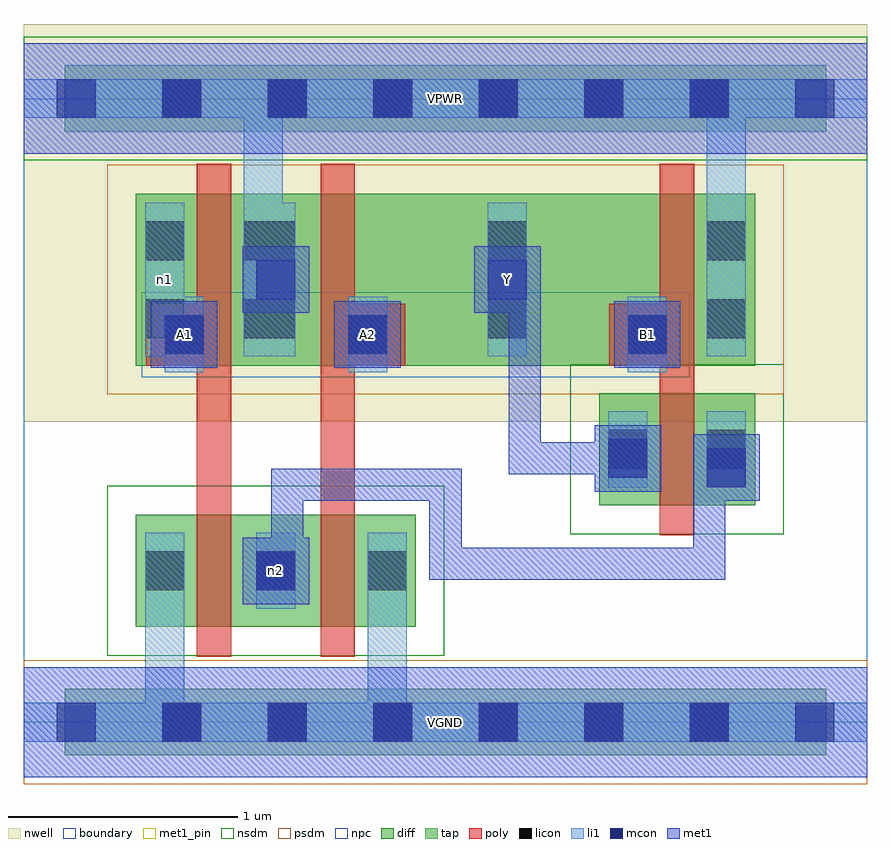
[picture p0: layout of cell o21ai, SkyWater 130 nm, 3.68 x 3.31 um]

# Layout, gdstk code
import gdstk
lib = gdstk.Library(unit=1e-6, precision=1e-09)
def R(c, l, rs):  # rectangles x0, y0, x1, y1
    for r in rs: c.add(gdstk.rectangle(r[:2], r[2:], *l))
def A(c, l, x, y, w, h, nx, ny, dx, dy):  # array of equal rectangles
    R(c, l, [(x+i*dx, y+j*dy, x+i*dx+w, y+j*dy+h) for i in range(nx) for j in range(ny)])
nwell = (64, 20)
diff = (65, 20)
tap = (65, 44)
poly = (66, 20)
licon = (66, 44)
li1 = (67, 20)
mcon = (67, 44)
met1_pin = (68, 16)
met1 = (68, 20)
nsdm = (93, 44)
psdm = (94, 20)
npc = (95, 20)
boundary = (235, 4)

o21ai = lib.new_cell('o21ai')
R(o21ai, nwell, [(0,1.31,3.68,3.045)])
R(o21ai, diff, [(0.49,0.415,1.71,0.905), (2.51,0.945,3.19,1.435), (0.49,1.555,3.19,2.305)])
R(o21ai, tap, [(0.18,-0.145,3.5,0.145), (0.18,2.575,3.5,2.865)])
R(o21ai, poly, [(0.755,0.285,0.905,2.435), (1.295,0.285,1.445,2.435), (2.775,0.815,2.925,2.435), (0.535,1.555,0.865,1.825), (1.335,1.555,1.665,1.825), (2.555,1.555,2.885,1.825)])
A(o21ai, licon, 0.605, -0.085, 0.17, 0.17, 6, 2, 0.46, 2.72)
A(o21ai, licon, 0.53, 0.575, 0.17, 0.17, 3, 1, 0.485, 0)
R(o21ai, licon, [(2.55,1.105,2.72,1.275), (2.98,1.105,3.15,1.275), (0.615,1.605,0.785,1.775), (1.415,1.605,1.585,1.775), (2.635,1.605,2.805,1.775), (0.53,1.675,0.7,1.845), (0.96,1.675,1.13,1.845), (1.015,1.675,1.185,1.845), (2.025,1.675,2.195,1.845), (2.98,1.675,3.15,1.845), (0.53,2.015,0.7,2.185), (0.96,2.015,1.13,2.185), (1.015,2.015,1.185,2.185), (2.025,2.015,2.195,2.185), (2.98,2.015,3.15,2.185)])
A(o21ai, li1, 0.53, 0.495, 0.17, 0.33, 3, 1, 0.485, 0)
R(o21ai, li1, [(0,-0.085,3.68,0.085), (0.53,-0.085,0.7,0.825), (1.5,-0.085,1.67,0.825), (2.55,1.025,2.72,1.355), (2.98,1.025,3.15,1.355), (0.615,1.525,0.785,1.855), (1.415,1.525,1.585,1.855), (2.635,1.525,2.805,1.855), (0.53,1.595,0.7,2.265), (0.96,1.595,1.13,2.265), (0.96,1.595,1.13,2.805), (1.015,1.595,1.185,2.265), (2.025,1.595,2.195,2.265), (2.98,1.595,3.15,2.265), (2.98,1.595,3.15,2.805), (0,2.635,3.68,2.805)])
A(o21ai, mcon, 0.145, -0.085, 0.17, 0.17, 8, 2, 0.46, 2.72)
R(o21ai, mcon, [(1.015,0.575,1.185,0.745), (2.98,1.025,3.15,1.195), (2.55,1.065,2.72,1.235), (0.615,1.605,0.785,1.775), (1.415,1.605,1.585,1.775), (2.635,1.605,2.805,1.775), (1.015,1.845,1.185,2.015), (2.025,1.845,2.195,2.015)])
R(o21ai, met1_pin, [(0,-0.24,3.68,0.24), (0.555,1.545,0.845,1.835), (1.355,1.545,1.645,1.835), (2.575,1.545,2.865,1.835), (1.965,1.785,2.255,2.075), (0,2.48,3.68,2.96)])
R(o21ai, met1, [(0,-0.24,3.68,0.24), (0.955,0.515,1.245,0.805), (1.08,0.62,1.22,0.76), (1.08,0.62,1.22,1.105), (1.77,0.62,1.91,1.105), (1.77,0.62,3.06,0.76), (2.92,0.62,3.06,0.99), (2.92,0.85,3.06,1.18), (1.08,0.965,1.91,1.105), (2.92,0.965,3.21,1.255), (2.49,1.005,2.78,1.295), (2.92,1.04,3.135,1.18), (2.115,1.08,2.255,2.025), (2.115,1.08,2.6,1.22), (2.46,1.08,2.705,1.22), (0.555,1.545,0.845,1.835), (1.355,1.545,1.645,1.835), (2.575,1.545,2.865,1.835), (0.955,1.785,1.245,2.075), (1.965,1.785,2.255,2.075), (2.115,1.885,2.255,2.025), (0,2.48,3.68,2.96)])
R(o21ai, nsdm, [(0.365,0.29,1.835,1.03), (2.385,0.82,3.315,1.56), (0,2.45,3.68,2.99)])
R(o21ai, psdm, [(0,-0.27,3.68,0.27), (0.365,1.43,3.315,2.43)])
R(o21ai, npc, [(0.515,1.505,2.905,1.875)])
R(o21ai, boundary, [(0,0,3.68,2.72)])
o21ai.add(gdstk.Label('n2', (1.1,0.66), layer=67, texttype=5))
o21ai.add(gdstk.Label('n1', (0.615,1.93), layer=67, texttype=5))
o21ai.add(gdstk.Label('A1', (0.7,1.69), layer=68, texttype=5))
o21ai.add(gdstk.Label('A2', (1.5,1.69), layer=68, texttype=5))
o21ai.add(gdstk.Label('B1', (2.72,1.69), layer=68, texttype=5))
o21ai.add(gdstk.Label('Y', (2.11,1.93), layer=68, texttype=5))
o21ai.add(gdstk.Label('VPWR', (1.84,2.72), layer=68, texttype=5))
o21ai.add(gdstk.Label('VGND', (1.84,0), layer=68, texttype=5))
o21ai.add(gdstk.Label('A1', (0.7,1.69), layer=68, texttype=16))
o21ai.add(gdstk.Label('A2', (1.5,1.69), layer=68, texttype=16))
o21ai.add(gdstk.Label('B1', (2.72,1.69), layer=68, texttype=16))
o21ai.add(gdstk.Label('Y', (2.11,1.93), layer=68, texttype=16))
o21ai.add(gdstk.Label('VPWR', (1.84,2.72), layer=68, texttype=16))
o21ai.add(gdstk.Label('VGND', (1.84,0), layer=68, texttype=16))

lib.write_gds('o21ai.gds')
